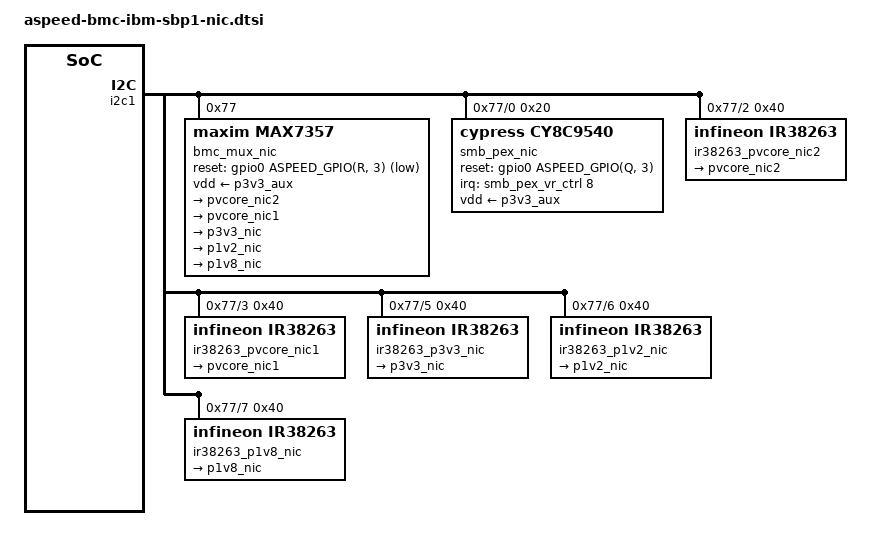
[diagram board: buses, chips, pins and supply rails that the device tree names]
&i2c1 { // BMC_MUX_NIC
	status = "okay";
	// Bus frequency limited to 100KHz by cy8c9540

	bmc_mux_nic: mux@77 { //  U61040
		#address-cells = <1>;
		#size-cells = <0>;
		compatible = "maxim,max7357";
		reg = <0x77>;
		reset-gpios = <&gpio0 ASPEED_GPIO(R, 3) (GPIO_ACTIVE_LOW | GPIO_OPEN_DRAIN)>; // BMC_MUX_NIC_RST_INT_N
		vdd-supply = <&p3v3_aux>;

		i2c@0 {
			#address-cells = <1>;
			#size-cells = <0>;
			reg = <0>;
			smb_pex_nic: U62160@20 {
				#address-cells = <1>;
				#size-cells = <0>;
				compatible = "cypress,cy8c9540";
				reg = <0x20>;
				gpio-controller;
				#gpio-cells = <2>;
				#interrupt-cells=<2>;
				interrupt-parent = <&smb_pex_vr_ctrl>;
				interrupts = <8 IRQ_TYPE_LEVEL_HIGH>; // SMB_PEX_NIC_INT
				interrupt-controller;
				vdd-supply = <&p3v3_aux>;
				// Reset is PEX_NIC_RST
				reset-gpios = <&gpio0 ASPEED_GPIO(Q, 3) GPIO_ACTIVE_HIGH>;

				ngpios = <38>;
				gpio-reserved-ranges = <19 1>, <22 6>, <30 6>, <38 2>;

				gpio-line-names =
				/* GPORT0 */
				"IRQ_NIC2_OVT_WRNG", "FM_NIC2_ALLSTANDBY_N", "IRQ_NIC2_OVT_SHTDN",
				"SMB_VR_PVCORE_NIC2_ALERT_N", "FM_NIC2_PERST1_N", "SMB_NIC2_ALERT_N",
				"FM_NIC2_PERST3_N", "FM_NIC2_PERST2_N",
				/* GPORT1*/
				"FM_NIC1_RST_N", "FM_NIC1_PERST0_N", "FM_NIC1_PERST2_N",
				"FM_NIC1_PERST3_N", "SMB_NIC1_ALERT_N", "FM_NIC1_PERST1_N",
				"SMB_VR_PVCORE_NIC1_ALERT_N", "IRQ_NIC1_OVT_SHTDN",
				/* GPORT2*/
				"SMB_VR_P3V3_NIC_ALERT_N", "FM_NIC2_FLASH_PRSNT", "FM_NIC1_FLASH_PRSNT", "",
				/* GPORT3*/
				"FM_NIC2_PERST0_N", "FM_NIC2_RST_N", "", "", "", "", "", "",
				/* GPORT4*/
				"FM_NIC1_ALLSTANDBY_N", "IRQ_NIC1_OVT_WRNG", "", "", "", "", "", "",
				/* GPORT5*/
				"SMB_VR_P1V8_NIC_ALERT_N", "SMB_VR_P1V2_NIC_ALERT_N", "", "";

				pinctrl-0 = <&U62160_pins>;
				pinctrl-names = "default";
				U62160_pins: pin-cfg {
					input {
						pins = "gp03", "gp05", "gp14", "gp16", "gp20",
						"gp50", "gp51";
						function = "gpio";
						input-enable;
					};
					input_pullup {
						pins = "gp00", "gp02", "gp04", "gp06", "gp07",
						"gp11", "gp12", "gp13", "gp15", "gp17", "gp21",
						"gp22", "gp30", "gp41";
						function = "gpio";
						input-enable;
						bias-pull-up;
					};
					out-low {
						pins = "gp01", "gp10", "gp31", "gp40";
						function = "gpio";
						output-enable;
						output-low;
					};
				};
			};
		};

		i2c@1 { // SMB_NIC2
			#address-cells = <1>;
			#size-cells = <0>;
			reg = <1>;
		};
		i2c@2 { // SMB_VR_PVCORE_NIC2
			#address-cells = <1>;
			#size-cells = <0>;
			reg = <2>;
			ir38263_pvcore_nic2@40 {
				compatible = "infineon,ir38263";
				reg = <0x40>;

				regulators {
					pvcore_nic2: vout0 {
						regulator-compatible = "vout0";
						regulator-name = "pvcore_nic2";
						regulator-enable-ramp-delay = <2000>;
						vin-supply = <&p12v_a>;
					};
				};
			};
		};
		i2c@3 { // SMB_VR_PVCORE_NIC1
			#address-cells = <1>;
			#size-cells = <0>;
			reg = <3>;
			ir38263_pvcore_nic1@40 {
				compatible = "infineon,ir38263";
				reg = <0x40>;

				regulators {
					pvcore_nic1: vout0 {
						regulator-compatible = "vout0";
						regulator-name = "pvcore_nic1";
						regulator-enable-ramp-delay = <2000>;
						vin-supply = <&p12v_a>;
					};
				};
			};
		};
		i2c@4 { // SMB_NIC1
			#address-cells = <1>;
			#size-cells = <0>;
			reg = <4>;
		};
		i2c@5 { // SMB_VR_P3V3_NIC
			#address-cells = <1>;
			#size-cells = <0>;
			reg = <5>;
			ir38263_p3v3_nic@40 {
				compatible = "infineon,ir38263";
				reg = <0x40>;

				regulators {
					p3v3_nic: vout0 {
						regulator-compatible = "vout0";
						regulator-name = "p3v3_nic";
						regulator-enable-ramp-delay = <2000>;
						vin-supply = <&p12v_a>;
						vbus-supply = <&p3v3_aux>;
					};
				};
			};
		};
		i2c@6 { // SMB_VR_P1V2_NIC
			#address-cells = <1>;
			#size-cells = <0>;
			reg = <6>;
			ir38263_p1v2_nic@40 {
				compatible = "infineon,ir38263";
				reg = <0x40>;

				regulators {
					p1v2_nic: vout0 {
						regulator-compatible = "vout0";
						regulator-name = "p1v2_nic";
						regulator-enable-ramp-delay = <2000>;
						vin-supply = <&p12v_a>;
						vbus-supply = <&p3v3_aux>;
					};
				};
			};
		};
		i2c@7 { // SMB_VR_P1V8_NIC
			#address-cells = <1>;
			#size-cells = <0>;
			reg = <7>;
			ir38263_p1v8_nic@40 {
				compatible = "infineon,ir38263";
				reg = <0x40>;

				regulators {
					p1v8_nic: vout0 {
						regulator-compatible = "vout0";
						regulator-name = "p1v8_nic";
						regulator-enable-ramp-delay = <2000>;
						vin-supply = <&p12v_a>;
						vbus-supply = <&p3v3_aux>;
					};
				};
			};
		};
	};
};
